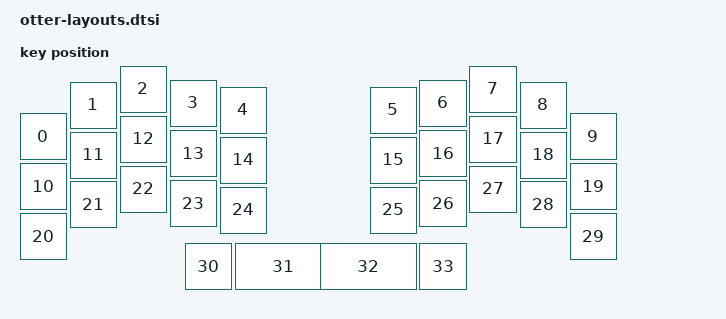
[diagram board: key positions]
#include <physical_layouts.dtsi>

/ {
    physical_layout_otter: physical_layout_otter {
        compatible = "zmk,physical-layout";
        display-name = "Otter";
        keys  //                     w   h    x    y     rot    rx    ry
            = <&key_physical_attrs 100 100    0   95       0     0     0>
            , <&key_physical_attrs 100 100  100   32       0     0     0>
            , <&key_physical_attrs 100 100  200    0       0     0     0>
            , <&key_physical_attrs 100 100  300   28       0     0     0>
            , <&key_physical_attrs 100 100  400   42       0     0     0>
            , <&key_physical_attrs 100 100  700   42       0     0     0>
            , <&key_physical_attrs 100 100  800   28       0     0     0>
            , <&key_physical_attrs 100 100  900    0       0     0     0>
            , <&key_physical_attrs 100 100 1000   32       0     0     0>
            , <&key_physical_attrs 100 100 1100   95       0     0     0>
            , <&key_physical_attrs 100 100    0  195       0     0     0>
            , <&key_physical_attrs 100 100  100  132       0     0     0>
            , <&key_physical_attrs 100 100  200  100       0     0     0>
            , <&key_physical_attrs 100 100  300  129       0     0     0>
            , <&key_physical_attrs 100 100  400  142       0     0     0>
            , <&key_physical_attrs 100 100  700  142       0     0     0>
            , <&key_physical_attrs 100 100  800  129       0     0     0>
            , <&key_physical_attrs 100 100  900  100       0     0     0>
            , <&key_physical_attrs 100 100 1000  132       0     0     0>
            , <&key_physical_attrs 100 100 1100  195       0     0     0>
            , <&key_physical_attrs 100 100    0  295       0     0     0>
            , <&key_physical_attrs 100 100  100  231       0     0     0>
            , <&key_physical_attrs 100 100  200  200       0     0     0>
            , <&key_physical_attrs 100 100  300  229       0     0     0>
            , <&key_physical_attrs 100 100  400  242       0     0     0>
            , <&key_physical_attrs 100 100  700  242       0     0     0>
            , <&key_physical_attrs 100 100  800  229       0     0     0>
            , <&key_physical_attrs 100 100  900  200       0     0     0>
            , <&key_physical_attrs 100 100 1000  231       0     0     0>
            , <&key_physical_attrs 100 100 1100  295       0     0     0>
            , <&key_physical_attrs 100 100  330  355       0     0     0>
            , <&key_physical_attrs 200 100  430  355       0     0     0>
            , <&key_physical_attrs 200 100  600  355       0   770   455>
            , <&key_physical_attrs 100 100  800  355       0   770   455>
            ;
    };
};
